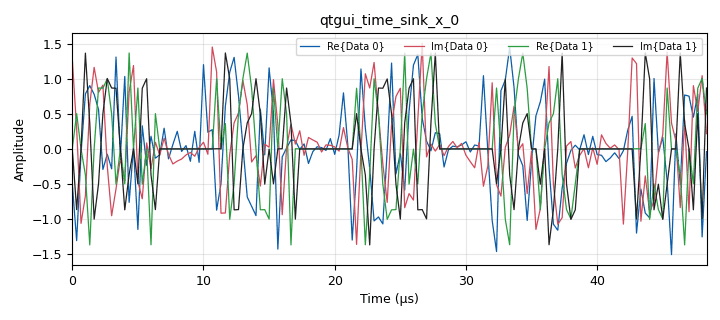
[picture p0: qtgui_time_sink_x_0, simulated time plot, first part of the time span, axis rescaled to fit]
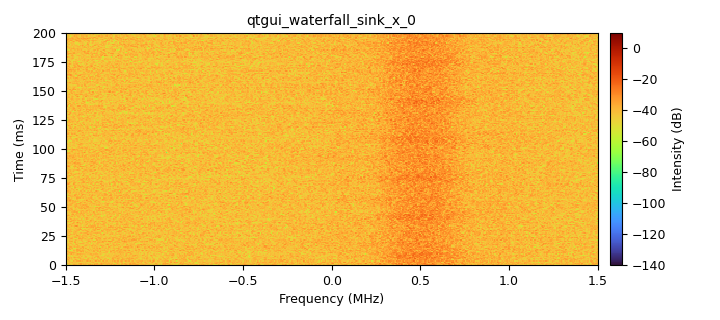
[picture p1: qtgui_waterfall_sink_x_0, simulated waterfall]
options:
  parameters:
    generate_options: qt_gui
    id: EmergencyWarningLight
    output_language: python
    title: EmergencyWarningLight
  states: {}

blocks:
- name: samp_rate
  id: variable
  parameters:
    value: '3000000'
  states: {}
- name: analog_sig_source_x_0
  id: analog_sig_source_x
  parameters:
    amp: '1'
    freq: '500000'
    offset: '0'
    phase: '0'
    samp_rate: samp_rate
    type: complex
    waveform: analog.GR_COS_WAVE
  states: {}
- name: analog_sig_source_x_0_0
  id: analog_sig_source_x
  parameters:
    amp: '1'
    freq: '500000'
    offset: '0'
    phase: '0'
    samp_rate: samp_rate
    type: complex
    waveform: analog.GR_COS_WAVE
  states: {}
- name: blocks_float_to_complex_0
  id: blocks_float_to_complex
  parameters: {}
  states: {}
- name: blocks_float_to_short_0
  id: blocks_float_to_short
  parameters:
    scale: '1'
  states: {}
- name: blocks_float_to_short_0_0
  id: blocks_float_to_short
  parameters:
    scale: '1'
  states: {}
- name: blocks_int_to_float_0
  id: blocks_int_to_float
  parameters:
    scale: '1'
  states: {}
- name: blocks_int_to_float_0_0
  id: blocks_int_to_float
  parameters:
    scale: '1'
  states: {}
- name: blocks_multiply_xx_0
  id: blocks_multiply_xx
  parameters:
    type: complex
  states: {}
- name: blocks_packed_to_unpacked_xx_0
  id: blocks_packed_to_unpacked_xx
  parameters:
    bits_per_chunk: '1'
    endianness: gr.GR_MSB_FIRST
    type: int
  states: {}
- name: blocks_packed_to_unpacked_xx_0_0
  id: blocks_packed_to_unpacked_xx
  parameters:
    bits_per_chunk: '1'
    endianness: gr.GR_MSB_FIRST
    type: int
  states: {}
- name: blocks_stream_mux_0
  id: blocks_stream_mux
  parameters:
    lengths: (1000, 1000)
    type: complex
  states: {}
- name: analog_packet_i_0
  id: analog_sig_source_x
  parameters:
    amp: '14000'
    freq: '970'
    offset: '20000'
    phase: '0'
    samp_rate: samp_rate
    type: float
    waveform: analog.GR_SIN_WAVE
  states: {}
- name: analog_packet_q_0
  id: analog_sig_source_x
  parameters:
    amp: '12000'
    freq: '1730'
    offset: '18000'
    phase: '0'
    samp_rate: samp_rate
    type: float
    waveform: analog.GR_COS_WAVE
  states: {}
- name: channels_channel_model_0
  id: channels_channel_model
  parameters:
    epsilon: '1.0'
    freq_offset: '0.0'
    noise_voltage: '0.2'
    seed: '0'
    taps: '1.0'
  states: {}
- name: epy_block_0
  id: epy_block
  parameters:
    _source_code: |-
      """
      Embedded Python Blocks:

      Each time this file is saved, GRC will instantiate the first class it finds
      to get ports and parameters of your block. The arguments to __init__  will
      be the parameters. All of them are required to have default values!
      """

      import numpy as np
      from gnuradio import gr


      class blk(gr.sync_block):
          """
          RANDU-based spreading block for continuous complex audio/QAM.

          Input:
              complex64 baseband signal, I + jQ

          Output:
              complex64 spread signal

          The RANDU state is converted into a binary chip:
              +1 or -1

          One chip is held for samples_per_chip input samples.
          """

          def __init__(self, samples_per_chip=10, seed=1):
              gr.sync_block.__init__(
                  self,
                  name="RANDU Phase Shifter",
                  in_sig=[np.complex64],
                  out_sig=[np.complex64]
              )

              self.samples_per_chip = max(1, int(samples_per_chip))

              # RANDU should not be started from zero.
              self.state = int(seed) & 0x7FFFFFFF

              if self.state == 0:
                  self.state = 1

              # Using an odd seed is more representative of RANDU.
              if self.state % 2 == 0:
                  self.state += 1

              self.current_chip = np.complex64(1.0 + 0.0j)
              self.chip_sample_counter = 0

          def next_randu(self):
              """
              RANDU recurrence:

                  x[n+1] = 65539*x[n] mod 2^31
              """

              self.state = (65539 * self.state) & 0x7FFFFFFF
              return self.state

          def generate_chip(self):
          	state = self.next_randu()

          	# Select two relatively high state bits.
          	phase_index = (state >> 28) & 0x03

          	phase_table = (
              	np.complex64(1.0 + 0.0j),
              	np.complex64(0.0 + 1.0j),
              	np.complex64(-1.0 + 0.0j),
              	np.complex64(0.0 - 1.0j)
          	)

          	return phase_table[phase_index]

          def work(self, input_items, output_items):
              x = input_items[0]
              y = output_items[0]

              for i in range(len(x)):

                  # Generate a new chip at the chip-rate boundary.
                  if self.chip_sample_counter == 0:
                      self.current_chip = self.generate_chip()

                  # Apply the same sign change to I and Q.
                  y[i] = x[i] * self.current_chip

                  self.chip_sample_counter += 1

                  if self.chip_sample_counter >= self.samples_per_chip:
                      self.chip_sample_counter = 0

              return len(y)
    samples_per_chip: '10'
    seed: '1'
  states: {}
- name: epy_block_1
  id: epy_block
  parameters:
    _source_code: |-
      """
      Embedded Python Blocks:

      Each time this file is saved, GRC will instantiate the first class it finds
      to get ports and parameters of your block. The arguments to __init__  will
      be the parameters. All of them are required to have default values!
      """

      import numpy as np
      from gnuradio import gr


      class blk(gr.sync_block):
          """
          Encode 16-bit data into a 32-bit alarm packet.

          Data bits:
              Read MSB-first.

          Emergency bits:
              Inserted LSB-first after every second data bit equal to 1.
              Any emergency bits not inserted are appended after the data.

          The result is left-aligned so the C decoder starts at packet bit 31.
          """

          def __init__(self, emergency=0xB):
              gr.sync_block.__init__(
                  self,
                  name="Alarm Packet Encoder",
                  in_sig=[np.uint16],
                  out_sig=[np.uint32],
              )

              self.emergency = int(emergency) & 0x0F

          @staticmethod
          def encode(data, emergency):
              packet = 0
              packet_length = 0
              pair_count = 0
              emergency_index = 0

              # Process the 16 data bits MSB-first.
              for bit_index in range(15, -1, -1):
                  data_bit = (data >> bit_index) & 1

                  packet = (packet << 1) | data_bit
                  packet_length += 1

                  if data_bit:
                      pair_count += 1

                  # Insert an emergency bit after every second data 1.
                  if pair_count == 2 and emergency_index < 4:
                      emergency_bit = (
                          emergency >> emergency_index
                      ) & 1

                      packet = (packet << 1) | emergency_bit
                      packet_length += 1

                      emergency_index += 1
                      pair_count = 0

              # Append emergency bits that were not interleaved.
              while emergency_index < 4:
                  emergency_bit = (
                      emergency >> emergency_index
                  ) & 1

                  packet = (packet << 1) | emergency_bit
                  packet_length += 1
                  emergency_index += 1

              # The C decoder begins reading at bit 31.
              packet <<= 32 - packet_length

              return packet & 0xFFFFFFFF

          def work(self, input_items, output_items):
              input_data = input_items[0]
              output_packets = output_items[0]

              for i in range(len(input_data)):
                  output_packets[i] = self.encode(
                      int(input_data[i]),
                      self.emergency,
                  )

              return len(output_packets)
    emergency: '0xB'
  states: {}
- name: epy_block_1_0
  id: epy_block
  parameters:
    _source_code: |-
      """
      Embedded Python Blocks:

      Each time this file is saved, GRC will instantiate the first class it finds
      to get ports and parameters of your block. The arguments to __init__  will
      be the parameters. All of them are required to have default values!
      """

      import numpy as np
      from gnuradio import gr


      class blk(gr.sync_block):
          """
          Encode 16-bit data into a 32-bit alarm packet.

          Data bits:
              Read MSB-first.

          Emergency bits:
              Inserted LSB-first after every second data bit equal to 1.
              Any emergency bits not inserted are appended after the data.

          The result is left-aligned so the C decoder starts at packet bit 31.
          """

          def __init__(self, emergency=0xB):
              gr.sync_block.__init__(
                  self,
                  name="Alarm Packet Encoder",
                  in_sig=[np.uint16],
                  out_sig=[np.uint32],
              )

              self.emergency = int(emergency) & 0x0F

          @staticmethod
          def encode(data, emergency):
              packet = 0
              packet_length = 0
              pair_count = 0
              emergency_index = 0

              # Process the 16 data bits MSB-first.
              for bit_index in range(15, -1, -1):
                  data_bit = (data >> bit_index) & 1

                  packet = (packet << 1) | data_bit
                  packet_length += 1

                  if data_bit:
                      pair_count += 1

                  # Insert an emergency bit after every second data 1.
                  if pair_count == 2 and emergency_index < 4:
                      emergency_bit = (
                          emergency >> emergency_index
                      ) & 1

                      packet = (packet << 1) | emergency_bit
                      packet_length += 1

                      emergency_index += 1
                      pair_count = 0

              # Append emergency bits that were not interleaved.
              while emergency_index < 4:
                  emergency_bit = (
                      emergency >> emergency_index
                  ) & 1

                  packet = (packet << 1) | emergency_bit
                  packet_length += 1
                  emergency_index += 1

              # The C decoder begins reading at bit 31.
              packet <<= 32 - packet_length

              return packet & 0xFFFFFFFF

          def work(self, input_items, output_items):
              input_data = input_items[0]
              output_packets = output_items[0]

              for i in range(len(input_data)):
                  output_packets[i] = self.encode(
                      int(input_data[i]),
                      self.emergency,
                  )

              return len(output_packets)
    emergency: '0xB'
  states: {}
- name: qtgui_time_sink_x_0
  id: qtgui_time_sink_x
  parameters:
    nconnections: '2'
    size: '1024'
    srate: samp_rate
    type: complex
  states: {}
- name: qtgui_waterfall_sink_x_0
  id: qtgui_waterfall_sink_x
  parameters:
    bw: samp_rate
    fc: '0'
    fftsize: '1024'
    type: complex
    update_time: '0.001'
  states: {}

connections:
- [analog_packet_i_0, '0', blocks_float_to_short_0, '0']
- [analog_packet_q_0, '0', blocks_float_to_short_0_0, '0']
- [analog_sig_source_x_0, '0', blocks_stream_mux_0, '0']
- [analog_sig_source_x_0_0, '0', blocks_stream_mux_0, '1']
- [blocks_float_to_complex_0, '0', epy_block_0, '0']
- [blocks_float_to_short_0, '0', epy_block_1, '0']
- [blocks_float_to_short_0_0, '0', epy_block_1_0, '0']
- [blocks_int_to_float_0, '0', blocks_float_to_complex_0, '0']
- [blocks_int_to_float_0_0, '0', blocks_float_to_complex_0, '1']
- [blocks_multiply_xx_0, '0', channels_channel_model_0, '0']
- [blocks_multiply_xx_0, '0', qtgui_time_sink_x_0, '1']
- [blocks_packed_to_unpacked_xx_0, '0', blocks_int_to_float_0, '0']
- [blocks_packed_to_unpacked_xx_0_0, '0', blocks_int_to_float_0_0, '0']
- [blocks_stream_mux_0, '0', blocks_multiply_xx_0, '1']
- [channels_channel_model_0, '0', qtgui_time_sink_x_0, '0']
- [channels_channel_model_0, '0', qtgui_waterfall_sink_x_0, '0']
- [epy_block_0, '0', blocks_multiply_xx_0, '0']
- [epy_block_1, '0', blocks_packed_to_unpacked_xx_0, '0']
- [epy_block_1_0, '0', blocks_packed_to_unpacked_xx_0_0, '0']

metadata:
  file_format: 1
  grc_version: 3.10.12.0
